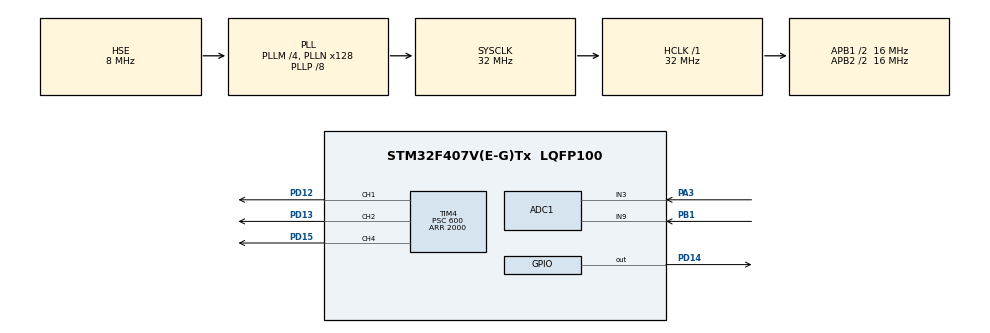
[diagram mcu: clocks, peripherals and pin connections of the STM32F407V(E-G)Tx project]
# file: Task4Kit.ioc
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ADC1.Channel-0\#ChannelRegularConversion=ADC_CHANNEL_3
ADC1.Channel-4\#ChannelRegularConversion=ADC_CHANNEL_9
ADC1.Channel-5\#ChannelRegularConversion=ADC_CHANNEL_TEMPSENSOR
ADC1.ClockPrescaler=ADC_CLOCK_SYNC_PCLK_DIV8
ADC1.ContinuousConvMode=DISABLE
ADC1.DMAContinuousRequests=ENABLE
ADC1.ExternalTrigConv=ADC_EXTERNALTRIGCONV_T2_TRGO
ADC1.InjNumberOfConversion=0
ADC1.NbrOfConversion=3
ADC1.NbrOfConversionFlag=1
ADC1.Rank-0\#ChannelRegularConversion=1
ADC1.Rank-4\#ChannelRegularConversion=2
ADC1.Rank-5\#ChannelRegularConversion=3
ADC1.SamplingTime-0\#ChannelRegularConversion=ADC_SAMPLETIME_3CYCLES
ADC1.SamplingTime-4\#ChannelRegularConversion=ADC_SAMPLETIME_3CYCLES
ADC1.SamplingTime-5\#ChannelRegularConversion=ADC_SAMPLETIME_3CYCLES
ADC1.master=1
Dma.ADC1.0.Direction=DMA_PERIPH_TO_MEMORY
Dma.ADC1.0.FIFOMode=DMA_FIFOMODE_DISABLE
Dma.ADC1.0.Instance=DMA2_Stream0
Dma.ADC1.0.MemDataAlignment=DMA_MDATAALIGN_HALFWORD
Dma.ADC1.0.MemInc=DMA_MINC_ENABLE
Dma.ADC1.0.Mode=DMA_CIRCULAR
Dma.ADC1.0.PeriphDataAlignment=DMA_PDATAALIGN_HALFWORD
Dma.ADC1.0.PeriphInc=DMA_PINC_DISABLE
Dma.ADC1.0.Priority=DMA_PRIORITY_LOW
Dma.Request0=ADC1
Mcu.Family=STM32F4
Mcu.Name=STM32F407V(E-G)Tx
Mcu.Package=LQFP100
NVIC.DMA2_Stream0_IRQn=true\:0\:0\:false\:false\:true\:false\:true\:true
NVIC.PriorityGroup=NVIC_PRIORITYGROUP_4
NVIC.TIM3_IRQn=true\:0\:0\:false\:false\:true\:true\:true\:true
PA13.Mode=Serial_Wire
PA13.Signal=SYS_JTMS-SWDIO
PA14.Mode=Serial_Wire
PA14.Signal=SYS_JTCK-SWCLK
PA3.Signal=ADCx_IN3
PB1.Signal=ADCx_IN9
PD12.Signal=S_TIM4_CH1
PD13.Signal=S_TIM4_CH2
PD14.Signal=GPIO_Output
PD15.Signal=S_TIM4_CH4
PH0-OSC_IN.Mode=HSE-External-Oscillator
PH0-OSC_IN.Signal=RCC_OSC_IN
PH1-OSC_OUT.Mode=HSE-External-Oscillator
PH1-OSC_OUT.Signal=RCC_OSC_OUT
ProjectManager.HeapSize=0x200
ProjectManager.StackSize=0x400
ProjectManager.TargetToolchain=STM32CubeIDE
RCC.48MHZClocksFreq_Value=64000000
RCC.AHBFreq_Value=32000000
RCC.APB1CLKDivider=RCC_HCLK_DIV2
RCC.APB1Freq_Value=16000000
RCC.APB1TimFreq_Value=32000000
RCC.APB2CLKDivider=RCC_HCLK_DIV2
RCC.APB2Freq_Value=16000000
RCC.APB2TimFreq_Value=32000000
RCC.CortexFreq_Value=32000000
RCC.HCLKFreq_Value=32000000
RCC.HSE_VALUE=8000000
RCC.HSI_VALUE=16000000
RCC.LSE_VALUE=32768
RCC.PLLM=4
RCC.PLLN=128
RCC.PLLP=RCC_PLLP_DIV8
RCC.PLLSourceVirtual=RCC_PLLSOURCE_HSE
RCC.SYSCLKFreq_VALUE=32000000
RCC.SYSCLKSource=RCC_SYSCLKSOURCE_PLLCLK
RCC.VCOOutputFreq_Value=256000000
SH.ADCx_IN3.0=ADC1_IN3,IN3
SH.ADCx_IN9.0=ADC2_IN9
SH.ADCx_IN9.1=ADC1_IN9,IN9
SH.S_TIM4_CH1.0=TIM4_CH1,PWM Generation1 CH1
SH.S_TIM4_CH2.0=TIM4_CH2,PWM Generation2 CH2
SH.S_TIM4_CH4.0=TIM4_CH4,PWM Generation4 CH4
TIM2.Period=99
TIM2.Prescaler=15599
TIM2.TIM_MasterOutputTrigger=TIM_TRGO_UPDATE
TIM3.AutoReloadPreload=TIM_AUTORELOAD_PRELOAD_ENABLE
TIM3.Period=1000
TIM3.Prescaler=32000
TIM4.Channel-PWM\ Generation1\ CH1=TIM_CHANNEL_1
TIM4.Channel-PWM\ Generation2\ CH2=TIM_CHANNEL_2
TIM4.Channel-PWM\ Generation4\ CH4=TIM_CHANNEL_4
TIM4.Period=2000
TIM4.Prescaler=600
VP_ADC1_TempSens_Input.Mode=IN-TempSens
VP_TIM2_VS_ClockSourceINT.Mode=Internal
VP_TIM3_VS_ClockSourceINT.Mode=Internal
VP_TIM4_VS_ClockSourceINT.Mode=Internal
board=custom

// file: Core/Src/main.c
/* USER CODE BEGIN Header */
/**
  ******************************************************************************
  * @file           : main.c
  * @brief          : Main program body
  ******************************************************************************
  * @attention
  *
  * Copyright (c) 2023 STMicroelectronics.
  * All rights reserved.
  *
  * This software is licensed under terms that can be found in the LICENSE file
  * in the root directory of this software component.
  * If no LICENSE file comes with this software, it is provided AS-IS.
  *
  ******************************************************************************
  */
/* USER CODE END Header */
#include "main.h"

ADC_HandleTypeDef hadc1;
DMA_HandleTypeDef hdma_adc1;

TIM_HandleTypeDef htim2;
TIM_HandleTypeDef htim3;
TIM_HandleTypeDef htim4;

void SystemClock_Config(void);
static void MX_GPIO_Init(void);
static void MX_DMA_Init(void);
static void MX_ADC1_Init(void);
static void MX_TIM4_Init(void);
static void MX_TIM2_Init(void);
static void MX_TIM3_Init(void);

/* USER CODE BEGIN 0 */
uint16_t adcResult[3];
/* USER CODE END 0 */

int main(void)
{

  /* MCU Configuration--------------------------------------------------------*/

  /* Reset of all peripherals, Initializes the Flash interface and the Systick. */
  HAL_Init();

  /* Configure the system clock */
  SystemClock_Config();

  /* Initialize all configured peripherals */
  MX_GPIO_Init();
  MX_DMA_Init();
  MX_ADC1_Init();
  MX_TIM4_Init();
  MX_TIM2_Init();
  MX_TIM3_Init();

  /* Infinite loop */
  /* USER CODE BEGIN WHILE */

  uint32_t tempValueOut = 0;
  uint32_t voltage = 0;
  uint32_t tempValueIn = 0;
  uint32_t emergency = 0;
  HAL_TIM_Base_Start_IT(&htim2);
  HAL_ADC_Start_DMA(&hadc1,(uint32_t*)adcResult,3);

  while (1)
  {
	  tempValueIn = adcResult[1];
	  if (tempValueIn > 2000)
	  {
		  HAL_TIM_PWM_Start(&htim4, TIM_CHANNEL_2);
		  uint8_t intensityInOne = 25;
		  TIM4->CCR2 = intensityInOne;
	  }
	  else if (tempValueIn < 2000)
	  {
		  HAL_TIM_PWM_Start(&htim4, TIM_CHANNEL_2);
		  uint8_t intensityInTwo = 500;
		  TIM4->CCR2 = intensityInTwo;
	  }

	  tempValueOut = adcResult[2];
	  if (tempValueOut < 1045)
	  {
		  HAL_TIM_PWM_Start(&htim4, TIM_CHANNEL_1);
		  uint8_t intensityOutOne = 25;
		  TIM4->CCR1 = intensityOutOne;
	  }
	  else if (tempValueOut > 1048)
	  {
		  HAL_TIM_PWM_Start(&htim4, TIM_CHANNEL_1);
		  uint8_t intensityOutTwo = 500;
		  TIM4->CCR1 = intensityOutTwo;
	  }

	  voltage =  adcResult[0];
	  if (voltage < 7)
	  {
		  HAL_TIM_PWM_Start(&htim4, TIM_CHANNEL_4);
		  uint8_t intensityVoltageOne = 25;
		  TIM4->CCR4 = intensityVoltageOne;
	  }
	  else if (voltage > 7)
	  {
		  HAL_TIM_PWM_Start(&htim4, TIM_CHANNEL_4);
		  uint8_t intensityVoltageTwo = 500;
		  TIM4->CCR4 = intensityVoltageTwo;
	  }

	  if (tempValueIn < 1900)
	  {
		  emergency ++;
	  }
	  if (tempValueOut > 1054)
	  {
		  emergency ++;
	  }
	  if (voltage > 30)
	  {
		  emergency ++;
	  }
	  if (emergency == 3)
	  {
		  TIM3->ARR = 500;
		  HAL_TIM_Base_Start_IT(&htim3);
	  }
	  else if (emergency == 2)
	  {
		  TIM3->ARR = 200;
		  HAL_TIM_Base_Start_IT(&htim3);
	  }
	  else if (emergency == 1)
	  {
		  TIM3->ARR = 100;
		  HAL_TIM_Base_Start_IT(&htim3);
	  }
	  else if (emergency == 0)
	  {
		  HAL_TIM_Base_Stop_IT(&htim3);
	  }
	  emergency = 0;
    /* USER CODE END WHILE */

  }
}

void SystemClock_Config(void)
{
  RCC_OscInitTypeDef RCC_OscInitStruct = {0};
  RCC_ClkInitTypeDef RCC_ClkInitStruct = {0};

  /** Configure the main internal regulator output voltage
  */
  __HAL_RCC_PWR_CLK_ENABLE();
  __HAL_PWR_VOLTAGESCALING_CONFIG(PWR_REGULATOR_VOLTAGE_SCALE1);

  /** Initializes the RCC Oscillators according to the specified parameters
  * in the RCC_OscInitTypeDef structure.
  */
  RCC_OscInitStruct.OscillatorType = RCC_OSCILLATORTYPE_HSE;
  RCC_OscInitStruct.HSEState = RCC_HSE_ON;
  RCC_OscInitStruct.PLL.PLLState = RCC_PLL_ON;
  RCC_OscInitStruct.PLL.PLLSource = RCC_PLLSOURCE_HSE;
  RCC_OscInitStruct.PLL.PLLM = 4;
  RCC_OscInitStruct.PLL.PLLN = 128;
  RCC_OscInitStruct.PLL.PLLP = RCC_PLLP_DIV8;
  RCC_OscInitStruct.PLL.PLLQ = 4;
  if (HAL_RCC_OscConfig(&RCC_OscInitStruct) != HAL_OK)
  {
    Error_Handler();
  }

  /** Initializes the CPU, AHB and APB buses clocks
  */
  RCC_ClkInitStruct.ClockType = RCC_CLOCKTYPE_HCLK|RCC_CLOCKTYPE_SYSCLK
                              |RCC_CLOCKTYPE_PCLK1|RCC_CLOCKTYPE_PCLK2;
  RCC_ClkInitStruct.SYSCLKSource = RCC_SYSCLKSOURCE_PLLCLK;
  RCC_ClkInitStruct.AHBCLKDivider = RCC_SYSCLK_DIV1;
  RCC_ClkInitStruct.APB1CLKDivider = RCC_HCLK_DIV2;
  RCC_ClkInitStruct.APB2CLKDivider = RCC_HCLK_DIV2;

  if (HAL_RCC_ClockConfig(&RCC_ClkInitStruct, FLASH_LATENCY_1) != HAL_OK)
  {
    Error_Handler();
  }
}

static void MX_ADC1_Init(void)
{

  ADC_ChannelConfTypeDef sConfig = {0};

  /** Configure the global features of the ADC (Clock, Resolution, Data Alignment and number of conversion)
  */
  hadc1.Instance = ADC1;
  hadc1.Init.ClockPrescaler = ADC_CLOCK_SYNC_PCLK_DIV8;
  hadc1.Init.Resolution = ADC_RESOLUTION_12B;
  hadc1.Init.ScanConvMode = ENABLE;
  hadc1.Init.ContinuousConvMode = DISABLE;
  hadc1.Init.DiscontinuousConvMode = DISABLE;
  hadc1.Init.ExternalTrigConvEdge = ADC_EXTERNALTRIGCONVEDGE_RISING;
  hadc1.Init.ExternalTrigConv = ADC_EXTERNALTRIGCONV_T2_TRGO;
  hadc1.Init.DataAlign = ADC_DATAALIGN_RIGHT;
  hadc1.Init.NbrOfConversion = 3;
  hadc1.Init.DMAContinuousRequests = ENABLE;
  hadc1.Init.EOCSelection = ADC_EOC_SINGLE_CONV;
  if (HAL_ADC_Init(&hadc1) != HAL_OK)
  {
    Error_Handler();
  }

  /** Configure for the selected ADC regular channel its corresponding rank in the sequencer and its sample time.
  */
  sConfig.Channel = ADC_CHANNEL_3;
  sConfig.Rank = 1;
  sConfig.SamplingTime = ADC_SAMPLETIME_3CYCLES;
  if (HAL_ADC_ConfigChannel(&hadc1, &sConfig) != HAL_OK)
  {
    Error_Handler();
  }

  /** Configure for the selected ADC regular channel its corresponding rank in the sequencer and its sample time.
  */
  sConfig.Channel = ADC_CHANNEL_9;
  sConfig.Rank = 2;
  if (HAL_ADC_ConfigChannel(&hadc1, &sConfig) != HAL_OK)
  {
    Error_Handler();
  }

  /** Configure for the selected ADC regular channel its corresponding rank in the sequencer and its sample time.
  */
  sConfig.Channel = ADC_CHANNEL_TEMPSENSOR;
  sConfig.Rank = 3;
  if (HAL_ADC_ConfigChannel(&hadc1, &sConfig) != HAL_OK)
  {
    Error_Handler();
  }

}

static void MX_TIM2_Init(void)
{

  TIM_ClockConfigTypeDef sClockSourceConfig = {0};
  TIM_MasterConfigTypeDef sMasterConfig = {0};

  htim2.Instance = TIM2;
  htim2.Init.Prescaler = 15599;
  htim2.Init.CounterMode = TIM_COUNTERMODE_UP;
  htim2.Init.Period = 99;
  htim2.Init.ClockDivision = TIM_CLOCKDIVISION_DIV1;
  htim2.Init.AutoReloadPreload = TIM_AUTORELOAD_PRELOAD_DISABLE;
  if (HAL_TIM_Base_Init(&htim2) != HAL_OK)
  {
    Error_Handler();
  }
  sClockSourceConfig.ClockSource = TIM_CLOCKSOURCE_INTERNAL;
  if (HAL_TIM_ConfigClockSource(&htim2, &sClockSourceConfig) != HAL_OK)
  {
    Error_Handler();
  }
  sMasterConfig.MasterOutputTrigger = TIM_TRGO_UPDATE;
  sMasterConfig.MasterSlaveMode = TIM_MASTERSLAVEMODE_DISABLE;
  if (HAL_TIMEx_MasterConfigSynchronization(&htim2, &sMasterConfig) != HAL_OK)
  {
    Error_Handler();
  }

}

static void MX_TIM3_Init(void)
{

  TIM_ClockConfigTypeDef sClockSourceConfig = {0};
  TIM_MasterConfigTypeDef sMasterConfig = {0};

  htim3.Instance = TIM3;
  htim3.Init.Prescaler = 32000;
  htim3.Init.CounterMode = TIM_COUNTERMODE_UP;
  htim3.Init.Period = 1000;
  htim3.Init.ClockDivision = TIM_CLOCKDIVISION_DIV1;
  htim3.Init.AutoReloadPreload = TIM_AUTORELOAD_PRELOAD_ENABLE;
  if (HAL_TIM_Base_Init(&htim3) != HAL_OK)
  {
    Error_Handler();
  }
  sClockSourceConfig.ClockSource = TIM_CLOCKSOURCE_INTERNAL;
  if (HAL_TIM_ConfigClockSource(&htim3, &sClockSourceConfig) != HAL_OK)
  {
    Error_Handler();
  }
  sMasterConfig.MasterOutputTrigger = TIM_TRGO_RESET;
  sMasterConfig.MasterSlaveMode = TIM_MASTERSLAVEMODE_DISABLE;
  if (HAL_TIMEx_MasterConfigSynchronization(&htim3, &sMasterConfig) != HAL_OK)
  {
    Error_Handler();
  }

}

static void MX_TIM4_Init(void)
{

  TIM_ClockConfigTypeDef sClockSourceConfig = {0};
  TIM_MasterConfigTypeDef sMasterConfig = {0};
  TIM_OC_InitTypeDef sConfigOC = {0};

  htim4.Instance = TIM4;
  htim4.Init.Prescaler = 600;
  htim4.Init.CounterMode = TIM_COUNTERMODE_UP;
  htim4.Init.Period = 2000;
  htim4.Init.ClockDivision = TIM_CLOCKDIVISION_DIV1;
  htim4.Init.AutoReloadPreload = TIM_AUTORELOAD_PRELOAD_DISABLE;
  if (HAL_TIM_Base_Init(&htim4) != HAL_OK)
  {
    Error_Handler();
  }
  sClockSourceConfig.ClockSource = TIM_CLOCKSOURCE_INTERNAL;
  if (HAL_TIM_ConfigClockSource(&htim4, &sClockSourceConfig) != HAL_OK)
  {
    Error_Handler();
  }
  if (HAL_TIM_PWM_Init(&htim4) != HAL_OK)
  {
    Error_Handler();
  }
  sMasterConfig.MasterOutputTrigger = TIM_TRGO_RESET;
  sMasterConfig.MasterSlaveMode = TIM_MASTERSLAVEMODE_DISABLE;
  if (HAL_TIMEx_MasterConfigSynchronization(&htim4, &sMasterConfig) != HAL_OK)
  {
    Error_Handler();
  }
  sConfigOC.OCMode = TIM_OCMODE_PWM1;
  sConfigOC.Pulse = 0;
  sConfigOC.OCPolarity = TIM_OCPOLARITY_HIGH;
  sConfigOC.OCFastMode = TIM_OCFAST_DISABLE;
  if (HAL_TIM_PWM_ConfigChannel(&htim4, &sConfigOC, TIM_CHANNEL_1) != HAL_OK)
  {
    Error_Handler();
  }
  if (HAL_TIM_PWM_ConfigChannel(&htim4, &sConfigOC, TIM_CHANNEL_2) != HAL_OK)
  {
    Error_Handler();
  }
  if (HAL_TIM_PWM_ConfigChannel(&htim4, &sConfigOC, TIM_CHANNEL_4) != HAL_OK)
  {
    Error_Handler();
  }
  HAL_TIM_MspPostInit(&htim4);

}

static void MX_DMA_Init(void)
{

  /* DMA controller clock enable */
  __HAL_RCC_DMA2_CLK_ENABLE();

  /* DMA interrupt init */
  /* DMA2_Stream0_IRQn interrupt configuration */
  HAL_NVIC_SetPriority(DMA2_Stream0_IRQn, 0, 0);
  HAL_NVIC_EnableIRQ(DMA2_Stream0_IRQn);

}

static void MX_GPIO_Init(void)
{
  GPIO_InitTypeDef GPIO_InitStruct = {0};

  /* GPIO Ports Clock Enable */
  __HAL_RCC_GPIOH_CLK_ENABLE();
  __HAL_RCC_GPIOA_CLK_ENABLE();
  __HAL_RCC_GPIOB_CLK_ENABLE();
  __HAL_RCC_GPIOD_CLK_ENABLE();

  /*Configure GPIO pin Output Level */
  HAL_GPIO_WritePin(GPIOD, GPIO_PIN_14, GPIO_PIN_RESET);

  /*Configure GPIO pin : PB1 */
  GPIO_InitStruct.Pin = GPIO_PIN_1;
  GPIO_InitStruct.Mode = GPIO_MODE_ANALOG;
  GPIO_InitStruct.Pull = GPIO_NOPULL;
  HAL_GPIO_Init(GPIOB, &GPIO_InitStruct);

  /*Configure GPIO pin : PD14 */
  GPIO_InitStruct.Pin = GPIO_PIN_14;
  GPIO_InitStruct.Mode = GPIO_MODE_OUTPUT_PP;
  GPIO_InitStruct.Pull = GPIO_NOPULL;
  GPIO_InitStruct.Speed = GPIO_SPEED_FREQ_LOW;
  HAL_GPIO_Init(GPIOD, &GPIO_InitStruct);

}

void Error_Handler(void)
{
  __disable_irq();
  while (1)
  {
  }
}
